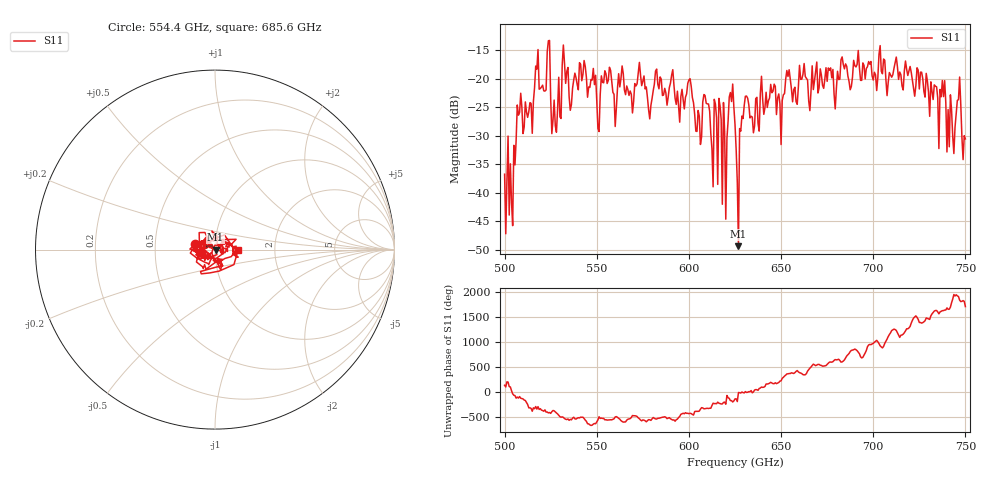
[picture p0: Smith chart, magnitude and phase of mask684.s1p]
!Created with skrf (http://scikit-rf.org).
# GHz S MA R 50.0
!freq magS11 angS11
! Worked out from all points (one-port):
!   401 points, 500 GHz to 750 GHz, reference 50 ohm
!   lowest |S11| = -49.4 dB at 626.9 GHz (marker M1), VSWR 1.01, Z = 50.3 - j0.0614 ohm
!   |S11| at or under -10 dB: start of sweep to end of sweep
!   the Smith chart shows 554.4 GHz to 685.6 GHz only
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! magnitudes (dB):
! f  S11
! 500 GHz  -36.7
! 503.8 GHz  -41.6
! 508.1 GHz  -25.9
! 513.8 GHz  -24.2
! 517.5 GHz  -18.3
! 523.8 GHz  -13.4
! 526.9 GHz  -23.8
! 531.2 GHz  -17.6
! 542.5 GHz  -19.2
! 551.2 GHz  -29.3
! 562.5 GHz  -21.4
! 593.8 GHz  -22.2
! 600.6 GHz  -20.0
! 605.6 GHz  -26.6
! 609.4 GHz  -24.3
! 619.4 GHz  -29.3
! 622.5 GHz  -22.4
! 625 GHz  -28.0
! 626.9 GHz  -49.4
! 631.2 GHz  -23.0
! 634.4 GHz  -26.7
! 656.2 GHz  -24.1
! 687.5 GHz  -21.9
! 718.8 GHz  -19.4
! 737.5 GHz  -20.3
! 742.5 GHz  -25.6
! 746.2 GHz  -23.7
! 750 GHz  -30.6
